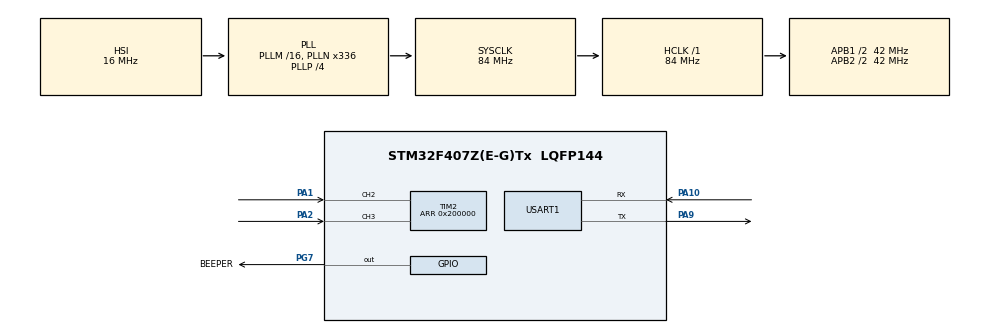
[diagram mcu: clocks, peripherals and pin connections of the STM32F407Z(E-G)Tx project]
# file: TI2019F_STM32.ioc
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Mcu.Family=STM32F4
Mcu.Name=STM32F407Z(E-G)Tx
Mcu.Package=LQFP144
NVIC.PriorityGroup=NVIC_PRIORITYGROUP_4
NVIC.TIM2_IRQn=true\:0\:0\:false\:false\:true\:true\:true\:true
NVIC.USART1_IRQn=true\:0\:0\:false\:false\:true\:true\:true\:true
PA1.GPIO_Speed=GPIO_SPEED_FREQ_VERY_HIGH
PA1.Signal=S_TIM2_CH2
PA10.Mode=Asynchronous
PA10.Signal=USART1_RX
PA2.GPIO_Speed=GPIO_SPEED_FREQ_VERY_HIGH
PA2.Signal=S_TIM2_CH3
PA9.Mode=Asynchronous
PA9.Signal=USART1_TX
PG7.GPIO_Label=BEEPER
PG7.GPIO_Speed=GPIO_SPEED_FREQ_LOW
PG7.Signal=GPIO_Output
PH0-OSC_IN.Mode=HSE-External-Oscillator
PH0-OSC_IN.Signal=RCC_OSC_IN
PH1-OSC_OUT.Mode=HSE-External-Oscillator
PH1-OSC_OUT.Signal=RCC_OSC_OUT
ProjectManager.HeapSize=0x200
ProjectManager.StackSize=0x1400
ProjectManager.TargetToolchain=MDK-ARM V5.32
RCC.48MHZClocksFreq_Value=84000000
RCC.AHBFreq_Value=84000000
RCC.APB1CLKDivider=RCC_HCLK_DIV2
RCC.APB1Freq_Value=42000000
RCC.APB1TimFreq_Value=84000000
RCC.APB2CLKDivider=RCC_HCLK_DIV2
RCC.APB2Freq_Value=42000000
RCC.APB2TimFreq_Value=84000000
RCC.CortexFreq_Value=84000000
RCC.HCLKFreq_Value=84000000
RCC.HSE_VALUE=8000000
RCC.HSI_VALUE=16000000
RCC.LSE_VALUE=32768
RCC.PLLN=336
RCC.PLLP=RCC_PLLP_DIV4
RCC.SYSCLKFreq_VALUE=84000000
RCC.SYSCLKSource=RCC_SYSCLKSOURCE_PLLCLK
RCC.VCOOutputFreq_Value=336000000
SH.S_TIM2_CH2.0=TIM2_CH2,Input_Capture2_from_TI2
SH.S_TIM2_CH3.0=TIM2_CH3,Input_Capture3_from_TI3
TIM2.Channel-Input_Capture2_from_TI2=TIM_CHANNEL_2
TIM2.Channel-Input_Capture3_from_TI3=TIM_CHANNEL_3
TIM2.Period=0x200000
USART1.VirtualMode=VM_ASYNC
VP_TIM2_VS_ClockSourceINT.Mode=Internal
board=custom

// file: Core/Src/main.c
/* USER CODE BEGIN Header */
/**
  ******************************************************************************
  * @file           : main.c
  * @brief          : Main program body
  ******************************************************************************
  * @attention
  *
  * Copyright (c) 2023 STMicroelectronics.
  * All rights reserved.
  *
  * This software is licensed under terms that can be found in the LICENSE file
  * in the root directory of this software component.
  * If no LICENSE file comes with this software, it is provided AS-IS.
  *
  ******************************************************************************
  */
/* USER CODE END Header */
#include "main.h"
#include "tim.h"
#include "usart.h"
#include "gpio.h"

/* USER CODE BEGIN Includes */
#include "USART_HMI.h"
#include "arm_math.h"
/* USER CODE END Includes */

/* USER CODE BEGIN PD */
#define POLY 7
#define LAYER 5
/* USER CODE END PD */

/* USER CODE BEGIN PV */
uint32_t cap_paper[MAX_PAPER_NUM + 1]; // less paper more cap more count
bool volatile mode = true;
static arm_matrix_instance_f32 inv;
static float32_t X_ori[POLY * POLY];
static float32_t X_inv[POLY * POLY];
static float32_t X_30[(CALC_LIMIT + 1) * POLY];
static float32_t Y_5[POLY];
static float32_t coef_5[POLY];
static float32_t Y_30[CALC_LIMIT + 1];
/* USER CODE END PV */

void SystemClock_Config(void);

/* USER CODE BEGIN 0 */
static void Get_Inv_Matrix(void)
{
  volatile arm_status ast;
  for (uint8_t i = 0; i < POLY; ++i)
  {
    for (uint8_t j = 0; j < POLY; ++j)
    {
      X_ori[i * POLY + j] = 1.0f / powf(i * LAYER + 10, POLY - 1 - j);
    }
  }
  arm_matrix_instance_f32 x_ori = {POLY, POLY, (float32_t*)X_ori};
  arm_mat_init_f32(&inv, POLY, POLY, (float32_t*)X_inv);
  ast = arm_mat_inverse_f32(&x_ori, &inv);
}

void Fit_Cap_Curve(void)
{
	volatile arm_status ast;
  arm_matrix_instance_f32 Y = {CALC_LIMIT + 1, 1, (float32_t*)Y_30};
  for (uint8_t i = 0; i < POLY; ++i)
  {
    Y_5[i] = (float32_t)cap_paper[i * LAYER + 10];
  }
  arm_matrix_instance_f32 y = {POLY, 1, (float32_t*)Y_5};
  arm_matrix_instance_f32 coef = {POLY, 1, (float32_t*)coef_5};
  ast = arm_mat_mult_f32(&inv, &y, &coef);
  for (uint8_t i = 11; i < CALC_LIMIT + 1; ++i)
  {
    for (uint8_t j = 0; j < POLY; ++j)
    {
      X_30[i * POLY + j] = 1.0f / powf(i, POLY - 1 - j);
    }
  }
  arm_matrix_instance_f32 X = {CALC_LIMIT + 1, POLY, (float32_t*)X_30};
  ast = arm_mat_mult_f32(&X, &coef, &Y);
  for (uint8_t i = 11; i < MAX_PAPER_NUM + 1; ++i)
  {
    cap_paper[i] = (uint32_t)(Y_30[i] + 0.5f);
  }
  for (uint8_t i = 1; i < 11; ++i)
  {
	  Y_30[i] = (float)cap_paper[i];
  }
  for (uint8_t i = 1; i <= CALC_LIMIT; ++i)
  {
    UARTHMI_Cross_Page_Set_Number(i, (int)Y_30[i], "page1");
  }
}

static uint8_t Get_Paper_Number(void)
{
	float tim = (float)TIM_final;
  for (uint8_t i = 1; i <= CALC_LIMIT; ++i)
  {
    if (tim >= Y_30[i])
    {
      return i;
    }
    else
    {
      if (i == CALC_LIMIT)
      {
        return i;
      }
      else if (10000000000.0f / (tim * tim) < (10000000000.0f / (Y_30[i] * Y_30[i]) + 10000000000.0f / (Y_30[i + 1] * Y_30[i + 1])) / 2)
      {
        return i;
      }
    }
  }
  return 0; //* To avoid warning, :(
}
/* USER CODE END 0 */

int main(void)
{

  /* MCU Configuration--------------------------------------------------------*/

  /* Reset of all peripherals, Initializes the Flash interface and the Systick. */
  HAL_Init();

  /* Configure the system clock */
  SystemClock_Config();

  /* Initialize all configured peripherals */
  MX_GPIO_Init();
  MX_USART1_UART_Init();
  MX_TIM2_Init();
  /* USER CODE BEGIN 2 */
  UARTHMI_Forget_It();
  UARTHMI_Reset();
  Get_Inv_Matrix();
  HAL_Delay(150);
  /* USER CODE END 2 */

  /* Infinite loop */
  while (1)
  {

    /* USER CODE BEGIN 3 */
    if (mode)
    {
      if (ch2_end_flag)
      {
        ch2_end_flag = false;
        printf("n0.pco=64512\xff\xff\xff");
        UARTHMI_Cross_Page_Set_Number(paper_num, cap_paper[paper_num], "page1");
      }
    }
    else
    {
      if (start_measuring)
      {
        while (!(ch2_end_flag || short_circuit));
        if (short_circuit)
        {
          UARTHMI_Visibility_Change(2, true);
          short_circuit = false;
        }
        else
        {
          UARTHMI_Visibility_Change(2, false);
          UARTHMI_Send_Number(1, Get_Paper_Number());
          UARTHMI_Cross_Page_Set_Number(0, TIM_final, "page1");
          BEEP;
          HAL_Delay(500);
          NOBB;
          ch2_end_flag = false;
        }
		    start_measuring = false;
      }
    }
  }
  /* USER CODE END 3 */
}

void SystemClock_Config(void)
{
  RCC_OscInitTypeDef RCC_OscInitStruct = {0};
  RCC_ClkInitTypeDef RCC_ClkInitStruct = {0};

  /** Configure the main internal regulator output voltage
  */
  __HAL_RCC_PWR_CLK_ENABLE();
  __HAL_PWR_VOLTAGESCALING_CONFIG(PWR_REGULATOR_VOLTAGE_SCALE1);

  /** Initializes the RCC Oscillators according to the specified parameters
  * in the RCC_OscInitTypeDef structure.
  */
  RCC_OscInitStruct.OscillatorType = RCC_OSCILLATORTYPE_HSI;
  RCC_OscInitStruct.HSIState = RCC_HSI_ON;
  RCC_OscInitStruct.HSICalibrationValue = RCC_HSICALIBRATION_DEFAULT;
  RCC_OscInitStruct.PLL.PLLState = RCC_PLL_ON;
  RCC_OscInitStruct.PLL.PLLSource = RCC_PLLSOURCE_HSI;
  RCC_OscInitStruct.PLL.PLLM = 16;
  RCC_OscInitStruct.PLL.PLLN = 336;
  RCC_OscInitStruct.PLL.PLLP = RCC_PLLP_DIV4;
  RCC_OscInitStruct.PLL.PLLQ = 4;
  if (HAL_RCC_OscConfig(&RCC_OscInitStruct) != HAL_OK)
  {
    Error_Handler();
  }

  /** Initializes the CPU, AHB and APB buses clocks
  */
  RCC_ClkInitStruct.ClockType = RCC_CLOCKTYPE_HCLK|RCC_CLOCKTYPE_SYSCLK
                              |RCC_CLOCKTYPE_PCLK1|RCC_CLOCKTYPE_PCLK2;
  RCC_ClkInitStruct.SYSCLKSource = RCC_SYSCLKSOURCE_PLLCLK;
  RCC_ClkInitStruct.AHBCLKDivider = RCC_SYSCLK_DIV1;
  RCC_ClkInitStruct.APB1CLKDivider = RCC_HCLK_DIV2;
  RCC_ClkInitStruct.APB2CLKDivider = RCC_HCLK_DIV2;

  if (HAL_RCC_ClockConfig(&RCC_ClkInitStruct, FLASH_LATENCY_2) != HAL_OK)
  {
    Error_Handler();
  }
}

void Error_Handler(void)
{
  __disable_irq();
  while (1)
  {
  }
}

#ifdef  USE_FULL_ASSERT
/**
  * @brief  Reports the name of the source file and the source line number
  *         where the assert_param error has occurred.
  * @param  file: pointer to the source file name
  * @param  line: assert_param error line source number
  * @retval None
  */
void assert_failed(uint8_t *file, uint32_t line)
{
  /* USER CODE BEGIN 6 */
  /* User can add his own implementation to report the file name and line number,
     ex: printf("Wrong parameters value: file %s on line %d\r\n", file, line) */
  printf("Wrong parameters value: file %s on line %d\r\n", file, line);
  /* USER CODE END 6 */
}
#endif /* USE_FULL_ASSERT */
